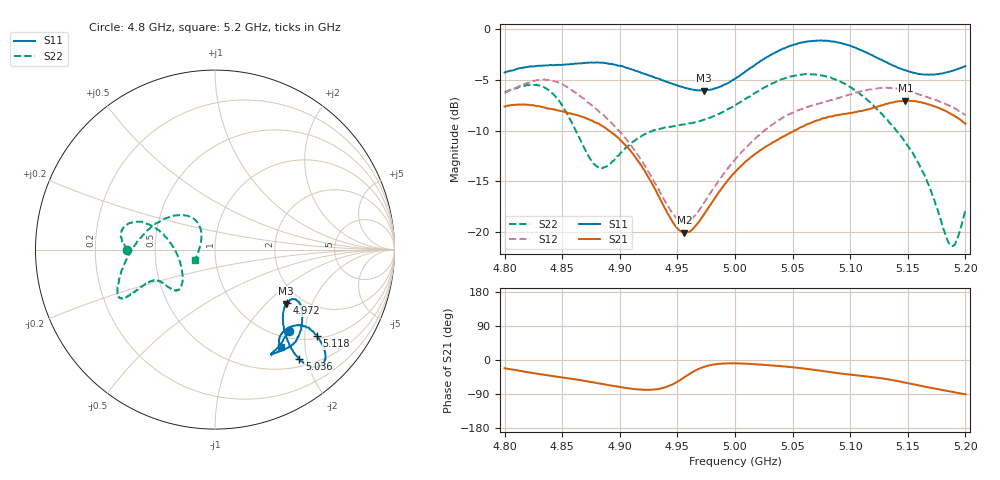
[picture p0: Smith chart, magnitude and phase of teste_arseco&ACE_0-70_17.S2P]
! Network Analyzer HP8722D
! Hewlett-Packard
! Data name: Linha & Wilkinson
! Saver's name: Rodrigo Anjos
! Comments: Teste da utilização de aquisição
! continua pelo VNA HP8722D
! Time and date: 8/5/2025 12:54
!  Frequency  S11  S21  S12  S22
# HZ  S  MA R 50
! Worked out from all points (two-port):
!   401 points, 4.8 GHz to 5.2 GHz, reference 50 ohm
!   highest |S21| = -7.06 dB at 5.148 GHz (marker M1); lowest = -20.1 dB at 4.956 GHz (marker M2)
!   |S21| within 3 dB of the highest: start of sweep to 4.891 GHz; 5.051 GHz to end of sweep
!   lowest |S11| = -6.1 dB at 4.973 GHz (marker M3), VSWR 2.97, Z = 82.6 - j66 ohm
!   |S11| at or under -10 dB: nowhere
!   |S22| runs from -21.4 to -4.4 dB; largest |S21 - S12| = 0.95
!   S11 on the Smith chart (normalised r, x): 4.8 GHz: 1.14, -1.64; 4.972 GHz: 1.67, -1.32; 5.036 GHz: 0.62, -1.87; 5.118 GHz: 1.06, -2.30; 5.2 GHz: 0.83, -1.57
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4.8e9  0.61 -47.7  0.4148 -21.8  0.4846 -175.6  0.4914 -180.0
4.821e9  0.6513 -58.3  0.4233 -32.8  0.5421 176.8  0.5282 171.4
4.837e9  0.6607 -61.5  0.4061 -40.5  0.5611 167.5  0.5043 163.4
4.85e9  0.6667 -59.9  0.3937 -45.8  0.5345 159.2  0.4191 159.2
4.867e9  0.6756 -54.9  0.3703 -53.8  0.4606 150.8  0.2744 166.7
4.885e9  0.6815 -48.7  0.3326 -63.3  0.3793 144.5  0.2064 -159.9
4.908e9  0.6379 -41.0  0.2565 -75.0  0.2754 138.2  0.2678 -133.7
4.934e9  0.5688 -33.0  0.1496 -76.4  0.1612 141.3  0.3206 -135.3
4.956e9  0.5139 -32.5  0.09941 -45.5  0.1124 172.9  0.3382 -144.3
4.972e9  0.498 -36.7  0.1201 -19.2  0.1365 -160.8  0.3562 -150.5
4.973e9  0.4968 -37.2  0.1221 -18.3  0.1392 -159.8  0.3571 -150.7
5e9  0.5682 -47.9  0.1976 -8.8  0.2279 -146.6  0.4218 -153.4
5.036e9  0.771 -52.4  0.2825 -15.3  0.3497 -147.4  0.552 -152.0
5.067e9  0.8698 -48.4  0.3472 -25.2  0.4205 -154.4  0.5969 -155.0
5.095e9  0.8422 -43.3  0.3815 -37.0  0.4668 -162.3  0.5383 -166.4
5.118e9  0.7459 -40.4  0.4057 -44.5  0.5044 -173.0  0.4292 173.3
5.134e9  0.6738 -40.1  0.4317 -51.5  0.5125 177.3  0.3459 153.4
5.148e9  0.6255 -42.5  0.4435 -59.9  0.4971 169.5  0.2761 135.8
5.166e9  0.5966 -48.5  0.4291 -71.1  0.4626 161.2  0.1824 122.8
5.187e9  0.6176 -54.9  0.3833 -83.4  0.4166 153.8  0.08637 159.0
5.192e9  0.6297 -55.5  0.3686 -85.9  0.4028 152.2  0.09011 -177.7
5.2e9  0.6562 -55.7  0.3416 -90.6  0.3762 149.4  0.1283 -151.9
